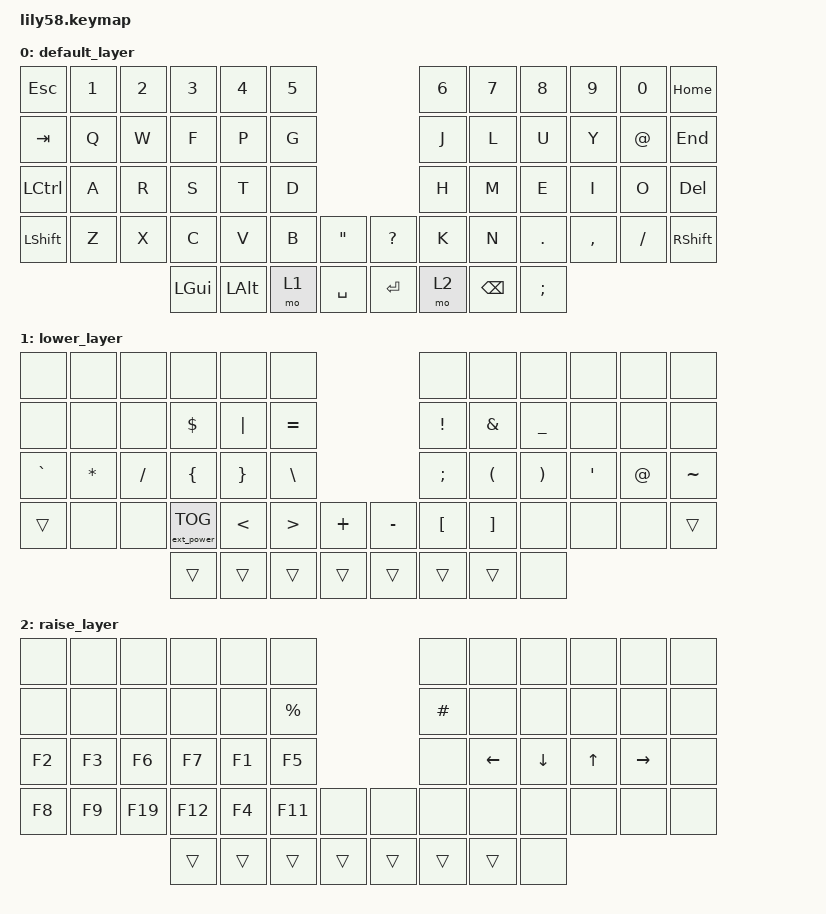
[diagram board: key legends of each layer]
/*
 * Copyright (c) 2020 The ZMK Contributors
 * include <dt-bindings/zmk/bt.h>
 * SPDX-License-Identifier: MIT
 */

#include <behaviors.dtsi>
#include <dt-bindings/zmk/keys.h>
#include <dt-bindings/zmk/bt.h>
#include <dt-bindings/zmk/ext_power.h>

/ {
    keymap {
        compatible = "zmk,keymap";

        default_layer {            
// Ulfbert
// ------------------------------------------------------------------------------------------------------------
// |  ESC  |  1  |  2  |  3   |  4   |  5   |                   |  6   |  7    |  8    |  9   |   0   |  HOME |
// |  TAB  |  Q  |  W  |  F   |  P   |  G   |                   |  J   |  L    |  U    |  Y   |   @   |  END  |
// |  CTRL |  A  |  R  |  S   |  T   |  D   |                   |  H   |  N    |  E    |  I   |   O   |  DEL  |
// | SHIFT |  Z  |  X  |  C   |  V   |  B   |    "   |  |   ?   |  K   |  M    |  .    |  ,   |   /   | SHIFT |
//                     | GUI  | ALT  | LOWER|  SPACE |  | ENTER | RAISE| BSPC  |  ;    |

            bindings = <
&kp ESC   &kp N1 &kp N2 &kp N3   &kp N4   &kp N5                     &kp N6 &kp N7   &kp N8    &kp N9    &kp N0   &kp HOME
&kp TAB   &kp Q  &kp W  &kp F    &kp P    &kp G                      &kp J  &kp L    &kp U     &kp Y     &kp AT   &kp END
&kp LCTRL &kp A  &kp R  &kp S    &kp T    &kp D                      &kp H  &kp M    &kp E     &kp I     &kp O    &kp DEL
&kp LSHFT &kp Z  &kp X  &kp C    &kp V    &kp B  &kp DQT   &kp QMARK &kp K  &kp N    &kp DOT   &kp COMMA &kp FSLH &kp RSHFT
                        &kp LGUI &kp LALT &mo 1  &kp SPACE &kp RET   &mo 2  &kp BSPC &kp SEMI
            >;
        };

        lower_layer {
// Ulfbert
// ------------------------------------------------------------------------------------------------------------
// |       |     |     |      |      |      |                   |      |       |       |      |       |       |
// |       |     |     |  $   | "|"  |  =   |                   |  !   |  &    |  _    |      |       |       |
// |   `   |  *  |  /  |  {   |  }   |  \   |                   |  ;   |  (    |  )    |  SQ  |   @   |   ~   |
// | SHIFT |     |     |EP_TOG|  <   |  >   |    +   |  |   -   | "["  | "]"   |       |      |       | SHIFT |
//                     | GUI  | ALT  |      |  SPACE |  | ENTER |      | BSCP  |       |
            bindings = <
&none     &none    &none    &none             &none    &none                        &none    &none    &none     &none    &none  &none 
&none     &none    &none    &kp DLLR          &kp PIPE &kp EQUAL                    &kp EXCL &kp AMPS &kp UNDER &none    &none  &none 
&kp GRAVE &kp STAR &kp FSLH &kp LBRC          &kp RBRC &kp BSLH                     &kp SEMI &kp LPAR &kp RPAR  &kp APOS &kp AT &kp TILDE
&trans    &none    &none    &ext_power EP_TOG &kp LT   &kp GT    &kp PLUS &kp MINUS &kp LBKT &kp RBKT &none     &none    &none  &trans
                            &trans   &trans   &trans    &trans   &trans    &trans   &trans   &none 
            >;
        };

        raise_layer {
// Ulfbert
// ------------------------------------------------------------------------------------------------------------
// |       |     |     |      |      |      |                   |      |       |       |      |       |       |
// |       |     |     |      |      |  %   |                   |  #   |       |       |      |       |       |
// |   F2  |  F3 |  F6 |  F7  |  F1  |  F5  |                   |      |   <-  |   v   |  ^   |  ->   |       |
// |   F8  |  F9 |  F10|  F12 |  F4  |  F11 |        |  |       |      |       |       |      |       |       |
//                     |  GUI |  ALT |      |  SPACE |  | ENTER |      |  BSCP |       |
            bindings = <
&none  &none  &none   &none    &none    &none                    &none    &none    &none    &none  &none     &none 
&none  &none  &none   &none    &none    &kp PRCNT                &kp HASH &none    &none    &none  &none     &none 
&kp F2 &kp F3 &kp F6  &kp F7   &kp F1   &kp F5                   &none    &kp LEFT &kp DOWN &kp UP &kp RIGHT &none 
&kp F8 &kp F9 &kp F19 &kp F12  &kp F4   &kp F11   &none  &none   &none    &none    &none    &none  &none     &none 
                      &trans   &trans   &trans    &trans &trans  &trans   &trans   &none 
            >;
        };
    };
};
